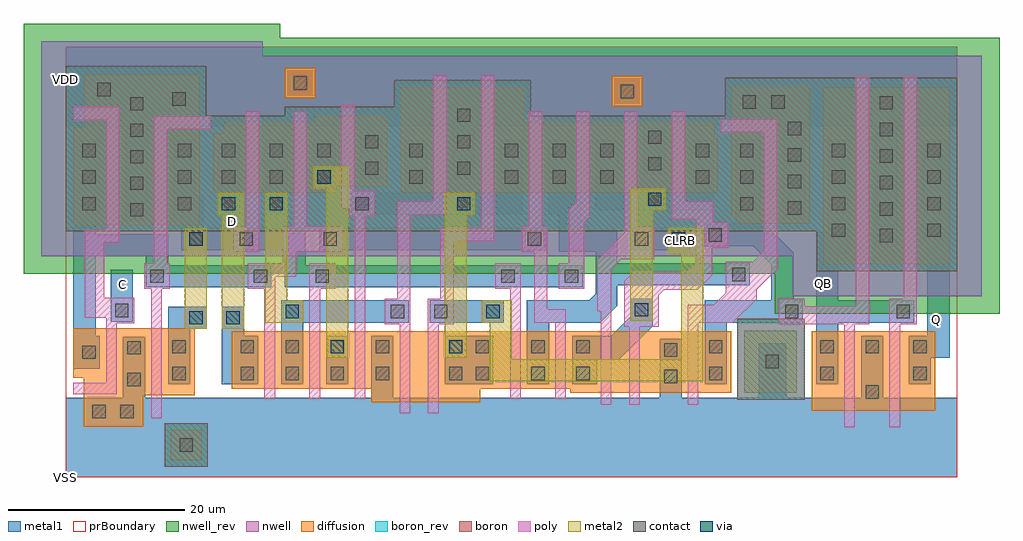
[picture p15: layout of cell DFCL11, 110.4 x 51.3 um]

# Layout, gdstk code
import gdstk
lib = gdstk.Library(unit=1e-6, precision=1e-09)
def R(c, l, rs):  # rectangles x0, y0, x1, y1
    for r in rs: c.add(gdstk.rectangle(r[:2], r[2:], *l))
def A(c, l, x, y, w, h, nx, ny, dx, dy):  # array of equal rectangles
    R(c, l, [(x+i*dx, y+j*dy, x+i*dx+w, y+j*dy+h) for i in range(nx) for j in range(ny)])
def P(c, l, *ps):  # polygons
    for p in ps: c.add(gdstk.Polygon(p, *l))
nwell = (1, 0)
diffusion = (2, 0)
nwell_rev = (3, 0)
poly = (4, 0)
boron = (5, 0)
boron_rev = (6, 0)
contact = (7, 0)
metal1 = (8, 0)
via = (9, 0)
metal2 = (10, 0)
prBoundary = (28, 0)

dfcl11 = lib.new_cell('DFCL11')
P(dfcl11, nwell, [(82.15,20.5),(82.15,25),(-2.8,25),(-2.8,49.3),(22.25,49.3),(22.25,47.7),(103.6,47.7),(103.6,20.5)])
R(dfcl11, diffusion, [(11.85,1.9,15.35,5.4), (84.35,7.5,98.35,16.5), (76.75,9.55,82.65,16.6), (85.65,24.1,99.95,44.1), (61.75,41.9,65.25,45.4), (24.75,42.85,28.25,46.35)])
P(dfcl11, diffusion, [(2,5.7),(2,11.25),(0.85,11.25),(0.85,16.85),(14.55,16.85),(14.55,9.25),(8.75,9.25),(8.75,5.7)],
  [(76.2,28.7),(75.25,29.65),(75.25,44.2),(84.15,44.2),(84.15,28.7)],
  [(34.55,8.5),(34.55,10),(18.75,10),(18.75,16.5),(75.25,16.5),(75.25,9.55),(57.05,9.55),(57.05,10),(46.85,10),(46.85,8.5)],
  [(37.85,32.2),(37.85,44.2),(51.85,44.2),(51.85,40.2),(73.4,40.2),(73.4,38.5),(73.75,38.5),(73.75,32.2)],
  [(0.85,28.5),(0.85,39.6),(2.05,39.6),(2.05,45.6),(15.15,45.6),(15.15,28.5)],
  [(16.65,32.2),(16.65,38.9),(17.85,38.9),(17.85,40.2),(28.1,40.2),(28.1,40.9),(36.35,40.9),(36.35,32.9),(30.65,32.9),(30.65,32.2)])
P(dfcl11, nwell_rev, [(80.15,18.5),(80.15,23),(-4.8,23),(-4.8,51.3),(24.25,51.3),(24.25,49.7),(105.6,49.7),(105.6,18.5)])
P(dfcl11, poly, [(9.65,6.7),(9.65,21.3),(8.85,21.3),(8.85,24.2),(9.95,24.2),(9.95,40.85),(16.4,40.85),(16.4,39.35),(11.45,39.35),(11.45,24.2),(11.75,24.2),(11.75,21.3),(10.85,21.3),(10.85,6.7)],
  [(93.15,5.65),(93.15,20.2),(94.75,20.2),(94.75,45.3),(96.25,45.3),(96.25,17.3),(94.35,17.3),(94.35,5.65)],
  [(88.05,5.65),(88.05,17.3),(80.65,17.3),(80.65,20.2),(83.55,20.2),(83.55,19.35),(89.35,19.35),(89.35,45.3),(90.85,45.3),(90.85,17.3),(89.25,17.3),(89.25,5.65)],
  [(0.8,9.4),(0.8,10.7),(4.55,10.7),(4.55,18.05),(2.1,18.05),(2.1,28),(4.55,28),(4.55,40.4),(0.85,40.4),(0.85,41.9),(6.05,41.9),(6.05,26.5),(4.35,26.5),(4.35,20.3),(7.75,20.3),(7.75,17.4),(5.75,17.4),(5.75,9.4)],
  [(63.7,8.2),(63.7,17),(63.15,17),(63.15,22.2),(64.2,23.25),(70.349,23.25),(71.25,24.151),(71.25,29.2),(68.55,29.2),(68.55,41.4),(70.05,41.4),(70.05,31.2),(73.2,31.2),(73.2,28.85),(74.9,28.85),(74.9,25.95),(73.1,25.95),(73.1,22.851),(71.449,21.2),(67.652,21.2),(67.05,20.598),(67.05,17),(64.9,17),(64.9,8.2)],
  [(60.5,8.2),(60.5,18.8),(60.1,18.8),(60.1,24.549),(63.15,27.599),(63.15,41.4),(64.65,41.4),(64.65,28.4),(66.55,28.4),(66.55,24.65),(62.8,24.65),(61.7,23.55),(61.7,8.2)],
  [(55.75,21.3),(55.75,24.2),(56.9,24.2),(56.9,30.247),(57.75,31.097),(57.75,41.4),(59.25,41.4),(59.25,29.45),(58.65,28.85),(58.65,21.3)],
  [(55.35,8.8),(55.35,17.5),(52.95,17.5),(52.95,25.5),(51.55,25.5),(51.55,28.4),(52.35,28.4),(52.35,41.4),(53.85,41.4),(53.85,28.4),(54.45,28.4),(54.45,19),(56.55,19),(56.55,8.8)],
  [(50.25,8.8),(50.25,21.3),(48.55,21.3),(48.55,24.2),(51.45,24.2),(51.45,8.8)],
  [(40.95,7.25),(40.95,20.2),(42.35,20.2),(42.35,28.2),(46.95,28.2),(46.95,45.45),(48.45,45.45),(48.45,26.7),(43.85,26.7),(43.85,17.3),(42.15,17.3),(42.15,7.25)],
  [(37.75,7.25),(37.75,17.3),(36.05,17.3),(36.05,20.2),(37.45,20.2),(37.45,31.2),(41.55,31.2),(41.55,45.45),(43.05,45.45),(43.05,29.7),(38.95,29.7),(38.95,7.25)],
  [(32.65,8.8),(32.65,29.5),(32.162,29.5),(32.05,29.612),(32.05,30.4),(31.15,30.4),(31.15,42.15),(32.65,42.15),(32.65,32.4),(34.95,32.4),(34.95,29.5),(33.85,29.5),(33.85,8.8)],
  [(22.45,8.8),(22.45,21.3),(20.55,21.3),(20.55,24.2),(24.55,24.2),(24.55,28.4),(25.75,28.4),(25.75,41.4),(27.25,41.4),(27.25,28.4),(31.1,28.4),(31.35,28.15),(31.35,25.5),(26.05,25.5),(26.05,22.7),(23.65,22.7),(23.65,8.8)],
  [(27.55,8.8),(27.55,24.2),(30.45,24.2),(30.45,21.3),(28.75,21.3),(28.75,8.8)],
  [(18.95,25.5),(18.95,28.4),(20.35,28.4),(20.35,41.4),(21.85,41.4),(21.85,25.5)],
  [(70.35,8.2),(70.35,19.5),(73.3,19.5),(74.65,20.85),(74.65,24.4),(77.75,24.4),(78.95,25.6),(78.95,39),(74.05,39),(74.05,40.5),(80.45,40.5),(80.45,23.502),(78.15,21.202),(78.15,20.151),(75.449,17.45),(71.55,17.45),(71.55,8.2)])
R(dfcl11, boron, [(11.15,1.2,16.05,6.1), (75.95,8.75,83.55,17.95)])
P(dfcl11, boron, [(84.95,23.3),(84.95,27.8),(0,27.8),(0,46.5),(15.85,46.5),(15.85,40.9),(24.75,40.9),(24.75,41.9),(37.15,41.9),(37.15,44.9),(52.55,44.9),(52.55,40.9),(74.55,40.9),(74.55,45.2),(100.8,45.2),(100.8,23.3)])
R(dfcl11, boron_rev, [(11.15,1.2,16.05,6.1), (75.95,8.75,83.55,17.95)])
P(dfcl11, boron_rev, [(84.95,23.3),(84.95,27.8),(0,27.8),(0,46.5),(15.85,46.5),(15.85,40.9),(24.75,40.9),(24.75,41.9),(37.15,41.9),(37.15,44.9),(52.55,44.9),(52.55,40.9),(74.55,40.9),(74.55,45.2),(100.8,45.2),(100.8,23.3)])
A(dfcl11, contact, 19.75, 11, 1.5, 1.5, 4, 1, 5.1, 0)
A(dfcl11, contact, 92.05, 26.6, 1.5, 1.5, 1, 6, 0, 3)
A(dfcl11, contact, 86.65, 27.2, 1.5, 1.5, 1, 4, 0, 3)
A(dfcl11, contact, 97.45, 27.2, 1.5, 1.5, 1, 4, 0, 3)
A(dfcl11, contact, 7.25, 29.5, 1.5, 1.5, 1, 5, 0, 3)
A(dfcl11, contact, 81.65, 29.7, 1.5, 1.5, 1, 4, 0, 3)
A(dfcl11, contact, 1.85, 30.2, 1.5, 1.5, 1, 3, 0, 3)
A(dfcl11, contact, 12.65, 30.2, 1.5, 1.5, 1, 3, 0, 3)
A(dfcl11, contact, 76.25, 30.2, 1.5, 1.5, 1, 3, 0, 3)
A(dfcl11, contact, 49.65, 33.2, 1.5, 1.5, 3, 2, 5.4, 3)
A(dfcl11, contact, 44.25, 34.2, 1.5, 1.5, 1, 3, 0, 3)
A(dfcl11, contact, 17.65, 36.2, 1.5, 1.5, 3, 1, 5.4, 0)
R(dfcl11, contact, [(12.85,2.9,14.35,4.4), (3,6.7,4.5,8.2), (6.15,6.7,7.65,8.2), (90.45,8.9,91.95,10.4), (6.95,10.3,8.45,11.8), (67.65,10.65,69.15,12.15), (12.05,11,13.55,12.5), (43.35,11,44.85,12.5), (46.35,11,47.85,12.5), (52.65,11,54.15,12.5), (57.75,11,59.25,12.5), (72.75,11,74.25,12.5), (85.35,11,86.85,12.5), (95.85,11,97.35,12.5), (79.15,12.35,80.65,13.85), (1.85,13.4,3.35,14.9), (67.65,13.65,69.15,15.15), (6.95,13.9,8.45,15.4), (12.05,14,13.55,15.5), (19.75,14,21.25,15.5), (24.85,14,26.35,15.5), (35.05,14,36.55,15.5), (46.35,14,47.85,15.5), (52.65,14,54.15,15.5), (57.75,14,59.25,15.5), (72.75,14,74.25,15.5), (85.35,14,86.85,15.5), (90.45,14,91.95,15.5), (95.85,14,97.35,15.5), (36.75,18,38.25,19.5), (41.65,18,43.15,19.5), (81.35,18,82.85,19.5), (93.95,18,95.45,19.5), (5.55,18.1,7.05,19.6), (9.55,22,11.05,23.5), (21.25,22,22.75,23.5), (28.25,22,29.75,23.5), (49.25,22,50.75,23.5), (56.45,22,57.95,23.5), (75.35,22.2,76.85,23.7), (19.65,26.2,21.15,27.7), (29.15,26.2,30.65,27.7), (52.25,26.2,53.75,27.7), (64.35,26.2,65.85,27.7), (72.7,26.65,74.2,28.15), (32.75,30.2,34.25,31.7), (17.65,33.2,19.15,34.7), (23.05,33.2,24.55,34.7), (38.85,33.2,40.35,34.7), (71.25,33.2,72.75,34.7), (33.85,34.2,35.35,35.7), (65.85,34.7,67.35,36.2), (38.85,36.2,40.35,37.7), (71.25,36.2,72.75,37.7), (33.85,37.2,35.35,38.7), (65.85,37.7,67.35,39.2), (76.55,41.7,78.05,43.2), (79.8,41.7,81.3,43.2), (12.05,42.05,13.55,43.55), (62.75,42.9,64.25,44.4), (3.55,43.1,5.05,44.6), (25.75,43.85,27.25,45.35)])
R(dfcl11, metal1, [(0,0,100.8,9), (29.45,10.5,31.95,16), (42.85,10.5,48.35,16), (97.45,16.8,99.95,19.3), (41.15,17.5,49.55,20), (5.05,17.6,7.55,23.5), (28.65,25.7,54.25,28.2), (63.85,25.7,70.55,28.2), (17.15,29.7,19.65,38.2), (22.55,29.7,25.05,38.2), (27.95,32.7,30.45,38.2), (0,39.7,100.8,48.7)])
P(dfcl11, metal1, [(11.55,10.5),(11.55,19.3),(15.95,19.3),(15.95,16.8),(14.05,16.8),(14.05,10.5)],
  [(91.55,26.1),(91.55,39.7),(83.65,39.7),(83.65,29.2),(81.15,29.2),(81.15,39.7),(67.85,39.7),(67.85,34.2),(65.35,34.2),(65.35,39.7),(46.25,39.7),(46.25,33.7),(43.75,33.7),(43.75,39.7),(35.85,39.7),(35.85,33.7),(33.35,33.7),(33.35,39.7),(9.25,39.7),(9.25,29),(6.75,29),(6.75,39.7),(0,39.7),(0,48.7),(100.8,48.7),(100.8,39.7),(94.05,39.7),(94.05,26.1)],
  [(0,0),(0,9),(6.45,9),(6.45,15.9),(8.95,15.9),(8.95,9),(34.55,9),(34.55,16),(37.05,16),(37.05,9),(67.15,9),(67.15,15.65),(69.65,15.65),(69.65,9),(78.35,9),(78.35,15.15),(81.45,15.15),(81.45,9),(89.95,9),(89.95,16),(92.45,16),(92.45,9),(100.8,9),(100.8,0)],
  [(95.35,10.5),(95.35,16),(97.45,16),(97.45,26.7),(96.95,26.7),(96.95,38.2),(99.95,38.2),(99.95,13.5),(97.85,13.5),(97.85,10.5)],
  [(84.85,10.5),(84.85,27.7),(86.15,27.7),(86.15,38.2),(88.65,38.2),(88.65,25.2),(87.35,25.2),(87.35,20),(95.95,20),(95.95,17.5),(87.35,17.5),(87.35,10.5)],
  [(72.25,10.5),(72.25,20),(79.8,20),(79.8,24.1),(77.75,26.15),(72.2,26.15),(72.2,28.65),(75.75,28.65),(75.75,38.2),(78.55,38.2),(78.55,29.15),(82.3,25.4),(82.3,20),(83.35,20),(83.35,17.5),(74.75,17.5),(74.75,10.5)],
  [(52.15,10.5),(52.15,20),(59.193,20),(59.95,20.757),(59.95,25.5),(55.75,25.5),(55.75,29.7),(54.55,29.7),(54.55,38.2),(58.25,38.2),(58.25,28),(62.35,28),(62.35,24.2),(77.35,24.2),(77.35,21.7),(62.35,21.7),(62.35,19.4),(60.45,17.5),(54.65,17.5),(54.65,10.5)],
  [(59.95,30.2),(59.95,38.2),(62.45,38.2),(62.45,32.7),(70.75,32.7),(70.75,38.2),(73.25,38.2),(73.25,30.2)],
  [(57.25,10.5),(57.25,16),(61.7,16),(63.85,18.15),(63.85,20.2),(66.35,20.2),(66.35,17.101),(62.549,13.3),(60.1,13.3),(60.1,10.5)],
  [(24.75,21.5),(24.75,25.7),(13.05,25.7),(13.05,29.7),(12.15,29.7),(12.15,38.2),(14.65,38.2),(14.65,31.9),(15.55,31.9),(15.55,28.2),(27.15,28.2),(27.15,24),(58.45,24),(58.45,21.5)],
  [(32.25,29.7),(32.25,32.2),(38.35,32.2),(38.35,38.2),(40.85,38.2),(40.85,32.2),(49.15,32.2),(49.15,38.2),(51.65,38.2),(51.65,29.7)],
  [(24.35,10.5),(24.35,20),(38.75,20),(38.75,17.5),(26.85,17.5),(26.85,10.5)],
  [(0.85,12.25),(0.85,38.2),(3.85,38.2),(3.85,29.7),(3.35,29.7),(3.35,27.5),(11.55,27.5),(11.55,24),(23.25,24),(23.25,21.5),(9.05,21.5),(9.05,25),(3.35,25),(3.35,16),(3.85,16),(3.85,12.25)],
  [(17.65,10.5),(17.65,19.3),(20.15,19.3),(20.15,16),(21.75,16),(21.75,10.5)])
R(dfcl11, via, [(29.95,14,31.45,15.5), (43.35,14,44.85,15.5), (13.95,17.3,15.45,18.8), (18.15,17.3,19.65,18.8), (24.85,18,26.35,19.5), (47.55,18,49.05,19.5), (64.35,18.2,65.85,19.7), (13.95,26.2,15.45,27.7), (68.55,26.2,70.05,27.7), (17.65,30.2,19.15,31.7), (23.05,30.2,24.55,31.7), (44.25,30.2,45.75,31.7), (65.85,30.7,67.35,32.2), (28.45,33.2,29.95,34.7)])
R(dfcl11, metal2, [(13.45,16.8,15.95,28.2)])
P(dfcl11, metal2, [(47.95,10.868),(47.95,17.5),(47.05,17.5),(47.05,20),(50.45,20),(50.45,13.368),(69.6,13.368),(69.6,25.2),(68.05,25.2),(68.05,28.2),(72.1,28.2),(72.1,25.62),(72.1,10.868)],
  [(17.65,16.8),(17.65,29.7),(17.15,29.7),(17.15,32.201),(17.65,32.201),(20.15,32.201),(20.15,16.8)],
  [(22.55,17.5),(22.55,32.2),(25.05,32.2),(25.05,20),(26.85,20),(26.85,17.5)],
  [(42.85,13.5),(42.85,32.2),(46.25,32.2),(46.25,29.7),(45.35,29.7),(45.35,13.5)],
  [(63.85,17.7),(63.85,32.7),(67.85,32.7),(67.85,30.2),(66.35,30.2),(66.35,17.7)],
  [(29.45,13.5),(29.45,32.7),(27.95,32.7),(27.95,35.2),(31.95,35.2),(31.95,13.5)])
R(dfcl11, prBoundary, [(0,0,100.8,48.7)])
dfcl11.add(gdstk.Label('VSS', (0.001,0.001), layer=8, texttype=7))
dfcl11.add(gdstk.Label('VDD', (0.002,45), layer=8, texttype=7))
dfcl11.add(gdstk.Label('CLRB', (69.5,26.75), layer=8, texttype=7))
dfcl11.add(gdstk.Label('QB', (85.7,21.9), layer=8, texttype=7))
dfcl11.add(gdstk.Label('C', (6.35,21.75), layer=8, texttype=7))
dfcl11.add(gdstk.Label('Q', (98.5,17.8), layer=8, texttype=7))
dfcl11.add(gdstk.Label('D', (18.88,28.925), layer=10, texttype=7))

lib.write_gds('DFCL11.gds')
